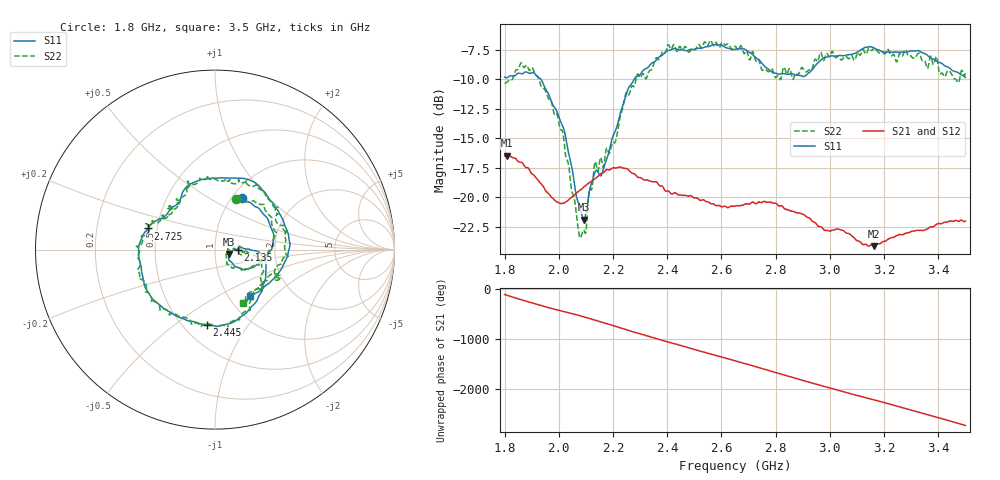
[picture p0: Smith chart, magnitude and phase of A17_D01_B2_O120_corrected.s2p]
! Created with skrf 1.9.0 (http://scikit-rf.org).
# Hz S RI R 50.0
!freq ReS11 ImS11 ReS21 ImS21 ReS12 ImS12 ReS22 ImS22
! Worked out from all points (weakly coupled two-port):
!   1601 points, 1.8 GHz to 3.5 GHz, reference 50 ohm
!   highest |S21| = -16.48 dB at 1.81 GHz (marker M1); lowest = -24.2 dB at 3.162 GHz (marker M2)
!   lowest |S11| = -21.9 dB at 2.092 GHz (marker M3), VSWR 1.17, Z = 58.2 - j2.85 ohm
!   |S11| at or under -10 dB: 1.934 GHz to 2.278 GHz (344.1 MHz wide, 16.3 % of centre)
!   |S22| runs from -23.5 to -6.7 dB; largest |S21 - S12| = 0.0029
!   S11 on the Smith chart (normalised r, x): 1.8 GHz: 1.12, +0.71; 2.135 GHz: 1.30, -0.01; 2.445 GHz: 0.65, -0.66; 2.725 GHz: 0.45, +0.12; 3.5 GHz: 1.25, -0.72
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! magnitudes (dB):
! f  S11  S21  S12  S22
! 1.8 GHz  -9.8  -16.5  -16.5  -10.3
! 1.81 GHz  -9.9  -16.5  -16.5  -10.2
! 1.88 GHz  -9.4  -17.5  -17.5  -8.8
! 1.969 GHz  -11.7  -19.9  -19.9  -11.7
! 2.014 GHz  -13.9  -20.5  -20.5  -14.4
! 2.084 GHz  -21.4  -19.3  -19.3  -23.2
! 2.092 GHz  -21.9  -19.1  -19.2  -22.8
! 2.135 GHz  -17.8  -18.4  -18.4  -17.0
! 2.162 GHz  -17.8  -18.0  -17.9  -17.4
! 2.209 GHz  -14.3  -17.5  -17.5  -15.3
! 2.26 GHz  -10.6  -17.8  -17.8  -11.3
! 2.367 GHz  -8.2  -18.9  -18.9  -8.3
! 2.445 GHz  -7.5  -19.8  -19.8  -7.2
! 2.65 GHz  -7.5  -20.8  -20.7  -7.2
! 2.725 GHz  -8.1  -20.6  -20.6  -8.4
! 2.812 GHz  -9.5  -20.7  -20.7  -9.8
! 2.934 GHz  -9.2  -22.0  -22.0  -9.2
! 3.162 GHz  -7.3  -24.2  -24.1  -7.4
! 3.217 GHz  -7.7  -23.5  -23.5  -7.5
! 3.329 GHz  -7.6  -22.8  -22.8  -7.8
! 3.468 GHz  -9.4  -22.0  -22.0  -10.1
! 3.5 GHz  -9.9  -22.0  -22.0  -9.5
